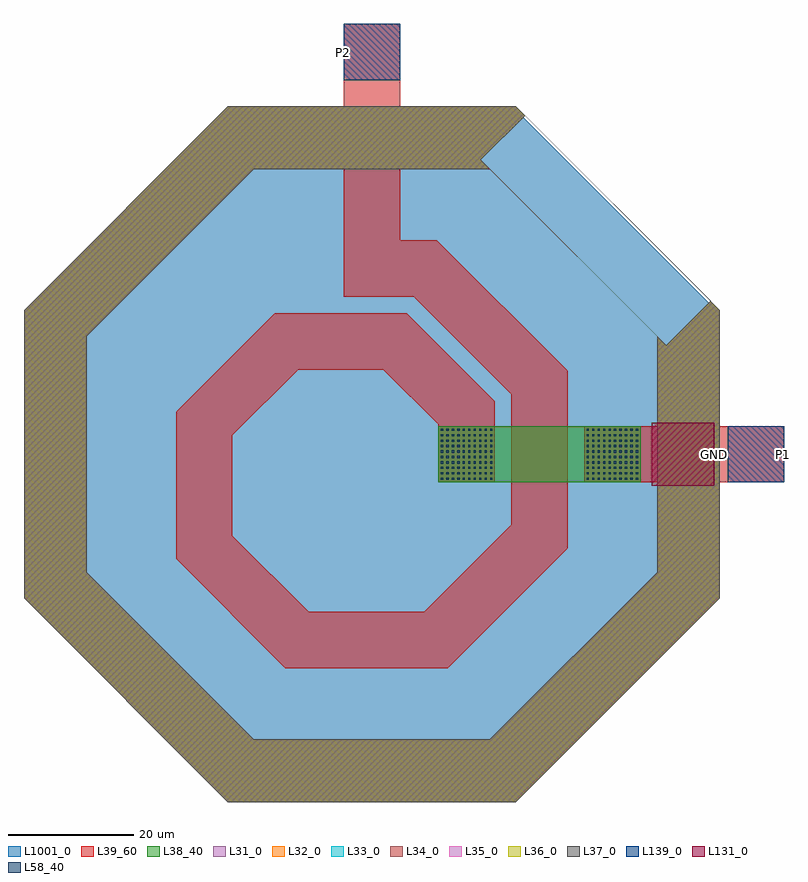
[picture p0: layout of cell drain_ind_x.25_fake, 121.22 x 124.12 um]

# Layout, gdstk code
import gdstk
lib = gdstk.Library(unit=1e-6, precision=1e-09)
def R(c, l, rs):  # rectangles x0, y0, x1, y1
    for r in rs: c.add(gdstk.rectangle(r[:2], r[2:], *l))
def A(c, l, x, y, w, h, nx, ny, dx, dy):  # array of equal rectangles
    R(c, l, [(x+i*dx, y+j*dy, x+i*dx+w, y+j*dy+h) for i in range(nx) for j in range(ny)])
def P(c, l, *ps):  # polygons
    for p in ps: c.add(gdstk.Polygon(p, *l))
L31_0 = (31, 0)
L32_0 = (32, 0)
L33_0 = (33, 0)
L34_0 = (34, 0)
L35_0 = (35, 0)
L36_0 = (36, 0)
L37_0 = (37, 0)
L38_40 = (38, 40)
L39_60 = (39, 60)
L58_40 = (58, 40)
L131_0 = (131, 0)
L139_0 = (139, 0)
L1001_0 = (1001, 0)

drain_ind_x_25_fake = lib.new_cell('drain_ind_x.25_fake')
P(drain_ind_x_25_fake, L31_0, [(46.946,17.375),(54.017,24.446),(22.981,55.481),(-22.981,55.481),(-55.481,22.981),(-55.481,-22.981),(-22.981,-55.481),(22.981,-55.481),(55.481,-22.981),(55.481,22.981),(24.446,54.017),(17.375,46.946),(45.481,18.839),(45.481,-18.839),(18.839,-45.481),(-18.839,-45.481),(-45.481,-18.839),(-45.481,18.839),(-18.839,45.481),(18.839,45.481)])
P(drain_ind_x_25_fake, L32_0, [(46.946,17.375),(54.017,24.446),(22.981,55.481),(-22.981,55.481),(-55.481,22.981),(-55.481,-22.981),(-22.981,-55.481),(22.981,-55.481),(55.481,-22.981),(55.481,22.981),(24.446,54.017),(17.375,46.946),(45.481,18.839),(45.481,-18.839),(18.839,-45.481),(-18.839,-45.481),(-45.481,-18.839),(-45.481,18.839),(-18.839,45.481),(18.839,45.481)])
P(drain_ind_x_25_fake, L33_0, [(46.946,17.375),(54.017,24.446),(22.981,55.481),(-22.981,55.481),(-55.481,22.981),(-55.481,-22.981),(-22.981,-55.481),(22.981,-55.481),(55.481,-22.981),(55.481,22.981),(24.446,54.017),(17.375,46.946),(45.481,18.839),(45.481,-18.839),(18.839,-45.481),(-18.839,-45.481),(-45.481,-18.839),(-45.481,18.839),(-18.839,45.481),(18.839,45.481)])
P(drain_ind_x_25_fake, L34_0, [(46.946,17.375),(54.017,24.446),(22.981,55.481),(-22.981,55.481),(-55.481,22.981),(-55.481,-22.981),(-22.981,-55.481),(22.981,-55.481),(55.481,-22.981),(55.481,22.981),(24.446,54.017),(17.375,46.946),(45.481,18.839),(45.481,-18.839),(18.839,-45.481),(-18.839,-45.481),(-45.481,-18.839),(-45.481,18.839),(-18.839,45.481),(18.839,45.481)])
P(drain_ind_x_25_fake, L35_0, [(46.946,17.375),(54.017,24.446),(22.981,55.481),(-22.981,55.481),(-55.481,22.981),(-55.481,-22.981),(-22.981,-55.481),(22.981,-55.481),(55.481,-22.981),(55.481,22.981),(24.446,54.017),(17.375,46.946),(45.481,18.839),(45.481,-18.839),(18.839,-45.481),(-18.839,-45.481),(-45.481,-18.839),(-45.481,18.839),(-18.839,45.481),(18.839,45.481)])
P(drain_ind_x_25_fake, L36_0, [(46.946,17.375),(54.017,24.446),(22.981,55.481),(-22.981,55.481),(-55.481,22.981),(-55.481,-22.981),(-22.981,-55.481),(22.981,-55.481),(55.481,-22.981),(55.481,22.981),(24.446,54.017),(17.375,46.946),(45.481,18.839),(45.481,-18.839),(18.839,-45.481),(-18.839,-45.481),(-45.481,-18.839),(-45.481,18.839),(-18.839,45.481),(18.839,45.481)])
P(drain_ind_x_25_fake, L37_0, [(46.946,17.375),(54.017,24.446),(22.981,55.481),(-22.981,55.481),(-55.481,22.981),(-55.481,-22.981),(-22.981,-55.481),(22.981,-55.481),(55.481,-22.981),(55.481,22.981),(24.446,54.017),(17.375,46.946),(45.481,18.839),(45.481,-18.839),(18.839,-45.481),(-18.839,-45.481),(-45.481,-18.839),(-45.481,18.839),(-18.839,45.481),(18.839,45.481)])
R(drain_ind_x_25_fake, L38_40, [(10.61,-4.5,42.86,4.5)])
P(drain_ind_x_25_fake, L38_40, [(46.946,17.375),(54.017,24.446),(22.981,55.481),(-22.981,55.481),(-55.481,22.981),(-55.481,-22.981),(-22.981,-55.481),(22.981,-55.481),(55.481,-22.981),(55.481,22.981),(24.446,54.017),(17.375,46.946),(45.481,18.839),(45.481,-18.839),(18.839,-45.481),(-18.839,-45.481),(-45.481,-18.839),(-45.481,18.839),(-18.839,45.481),(18.839,45.481)])
R(drain_ind_x_25_fake, L39_60, [(33.86,-4.5,65.735,4.5), (-4.5,25.14,4.5,68.64)])
P(drain_ind_x_25_fake, L39_60, [(10.61,-4.5),(19.61,-4.5),(19.61,8.474),(5.569,22.515),(-15.488,22.515),(-31.235,6.774),(-31.235,-16.694),(-13.789,-34.14),(12.089,-34.14),(31.235,-14.994),(31.235,13.289),(10.384,34.14),(0,34.14),(0,25.14),(6.656,25.14),(22.235,9.561),(22.235,-11.266),(8.361,-25.14),(-10.061,-25.14),(-22.235,-12.966),(-22.235,3.046),(-11.762,13.515),(1.841,13.515),(10.61,4.746)],
  [(46.946,17.375),(54.017,24.446),(22.981,55.481),(-22.981,55.481),(-55.481,22.981),(-55.481,-22.981),(-22.981,-55.481),(22.981,-55.481),(55.481,-22.981),(55.481,22.981),(24.446,54.017),(17.375,46.946),(45.481,18.839),(45.481,-18.839),(18.839,-45.481),(-18.839,-45.481),(-45.481,-18.839),(-45.481,18.839),(-18.839,45.481),(18.839,45.481)])
A(drain_ind_x_25_fake, L58_40, 11.019, -4.09, 0.35, 0.35, 10, 10, 0.87, 0.87)
A(drain_ind_x_25_fake, L58_40, 34.269, -4.09, 0.35, 0.35, 10, 10, 0.87, 0.87)
R(drain_ind_x_25_fake, L131_0, [(44.64,-5,54.64,5)])
R(drain_ind_x_25_fake, L139_0, [(56.735,-4.5,65.735,4.5), (-4.5,59.64,4.5,68.64)])
P(drain_ind_x_25_fake, L1001_0, [(55.101,22.823),(22.823,55.101),(-22.823,55.101),(-55.101,22.823),(-55.101,-22.823),(-22.823,-55.101),(22.823,-55.101),(55.101,-22.823)],
  [(55.101,22.823),(22.823,55.101),(-22.823,55.101),(-55.101,22.823),(-55.101,-22.823),(-22.823,-55.101),(22.823,-55.101),(55.101,-22.823)],
  [(55.101,22.823),(22.823,55.101),(-22.823,55.101),(-55.101,22.823),(-55.101,-22.823),(-22.823,-55.101),(22.823,-55.101),(55.101,-22.823)],
  [(55.101,22.823),(22.823,55.101),(-22.823,55.101),(-55.101,22.823),(-55.101,-22.823),(-22.823,-55.101),(22.823,-55.101),(55.101,-22.823)],
  [(55.101,22.823),(22.823,55.101),(-22.823,55.101),(-55.101,22.823),(-55.101,-22.823),(-22.823,-55.101),(22.823,-55.101),(55.101,-22.823)],
  [(55.101,22.823),(22.823,55.101),(-22.823,55.101),(-55.101,22.823),(-55.101,-22.823),(-22.823,-55.101),(22.823,-55.101),(55.101,-22.823)],
  [(55.101,22.823),(22.823,55.101),(-22.823,55.101),(-55.101,22.823),(-55.101,-22.823),(-22.823,-55.101),(22.823,-55.101),(55.101,-22.823)],
  [(55.101,22.823),(22.823,55.101),(-22.823,55.101),(-55.101,22.823),(-55.101,-22.823),(-22.823,-55.101),(22.823,-55.101),(55.101,-22.823)],
  [(55.101,22.823),(22.823,55.101),(-22.823,55.101),(-55.101,22.823),(-55.101,-22.823),(-22.823,-55.101),(22.823,-55.101),(55.101,-22.823)])
drain_ind_x_25_fake.add(gdstk.Label('P1', (65.734,0), layer=139, texttype=0))
drain_ind_x_25_fake.add(gdstk.Label('P2', (-4.5,64.141), layer=139, texttype=0))
drain_ind_x_25_fake.add(gdstk.Label('GND', (54.641,0), layer=131, texttype=0))

lib.write_gds('drain_ind_x.25_fake.gds')
